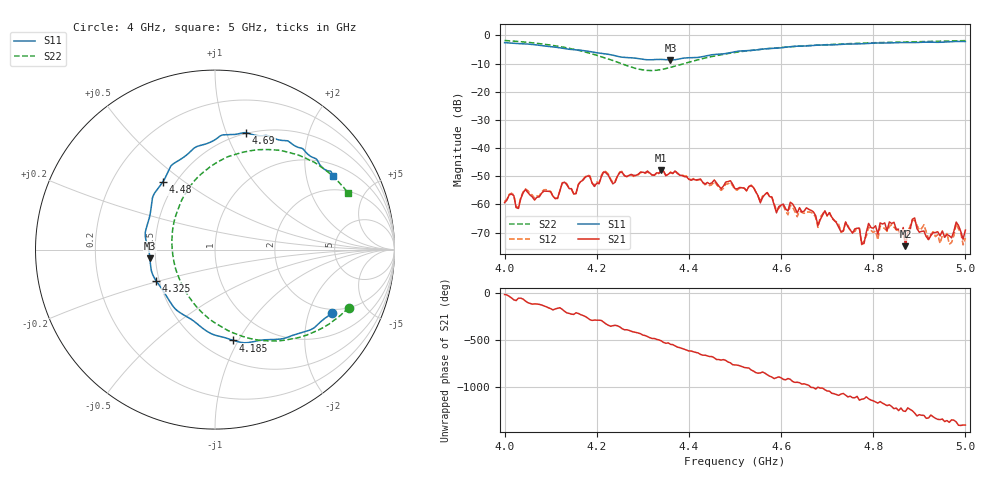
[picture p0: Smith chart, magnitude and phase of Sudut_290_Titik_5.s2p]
# Hz S RI R 50
! CMT, C1220, 16058040, 17.2.0/1
! Date: 15/08/2018 12:23:23
! Data: Format (Calibration Info)
! Freq  S11: Re/Im (F2)  S21: Re/Im (F2)  S12: Re/Im (F2)  S22: Re/Im (F2)
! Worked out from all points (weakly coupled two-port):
!   201 points, 4 GHz to 5 GHz, reference 50 ohm
!   highest |S21| = -47.86 dB at 4.34 GHz (marker M1); lowest = -74.8 dB at 4.87 GHz (marker M2)
!   lowest |S11| = -8.7 dB at 4.36 GHz (marker M3), VSWR 2.15, Z = 23.3 - j2.55 ohm
!   |S11| at or under -10 dB: nowhere
!   |S22| runs from -12.5 to -1.8 dB; largest |S21 - S12| = 0.00022
!   S11 on the Smith chart (normalised r, x): 4 GHz: 1.81, -2.87; 4.185 GHz: 0.69, -0.95; 4.325 GHz: 0.48, -0.19; 4.48 GHz: 0.43, +0.41; 4.69 GHz: 0.49, +1.18; 5 GHz: 1.38, +2.87
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4e9  0.6513 -0.3555  0.00105 -0.000231  0.00111 -0.000169  0.7439 -0.3234
4.17e9  0.1479 -0.5173  -0.00154 0.00221  -0.00163 0.00224  0.1724 -0.4894
4.185e9  0.102 -0.5061  0.000535 0.00306  0.00041 0.00319  0.1114 -0.4678
4.325e9  -0.3288 -0.1726  -0.00164 -0.00286  -0.00168 -0.00284  -0.238 -0.00266
4.335e9  -0.346 -0.1415  -0.00255 -0.00251  -0.00248 -0.00251  -0.24 0.0392
4.34e9  -0.3521 -0.1264  -0.00332 -0.00232  -0.00327 -0.00232  -0.2398 0.0599
4.36e9  -0.3629 -0.0474  -0.00367 0.000147  -0.00373 9.38e-05  -0.2312 0.1392
4.48e9  -0.2922 0.3754  0.00248 0.000266  0.00228 0.000235  -0.0175 0.4675
4.5e9  -0.2574 0.4424  0.00143 -0.00124  0.00145 -0.00114  0.029 0.4959
4.67e9  0.1395 0.6469  0.000152 0.000724  0.000133 0.000677  0.3727 0.5503
4.69e9  0.1745 0.6504  0.000195 0.000613  0.000197 0.00064  0.4062 0.5426
4.77e9  0.3471 0.6134  0.000211 -0.000312  0.000163 -0.000331  0.5215 0.5009
4.775e9  0.3597 0.6102  0.000138 -0.000141  0.000142 -0.000131  0.5287 0.4972
4.79e9  0.3908 0.6074  0.000345 -0.000303  0.000301 -0.000258  0.5482 0.489
4.835e9  0.457 0.572  -0.00013 -0.000469  -0.0001 -0.000393  0.5993 0.4548
4.865e9  0.4953 0.5558  -0.000382 -6.57e-05  -0.000288 -9.17e-05  0.631 0.4318
4.87e9  0.5 0.55  -0.000181 -1.34e-05  -0.000165 -0.000102  0.6354 0.4277
4.89e9  0.5308 0.521  -0.000555 0.000142  -0.000483 0.000168  0.6549 0.4108
4.92e9  0.5683 0.5005  -9.74e-05 0.000215  -7.22e-05 0.000231  0.681 0.3842
4.965e9  0.6328 0.4381  0.000105 0.000258  8.7e-05 0.000176  0.7172 0.3464
4.98e9  0.6456 0.436  0.000141 0.000463  0.00015 0.000429  0.7274 0.3321
5e9  0.6577 0.4123  0.000271 0.00022  0.000161 0.000194  0.7428 0.3129
